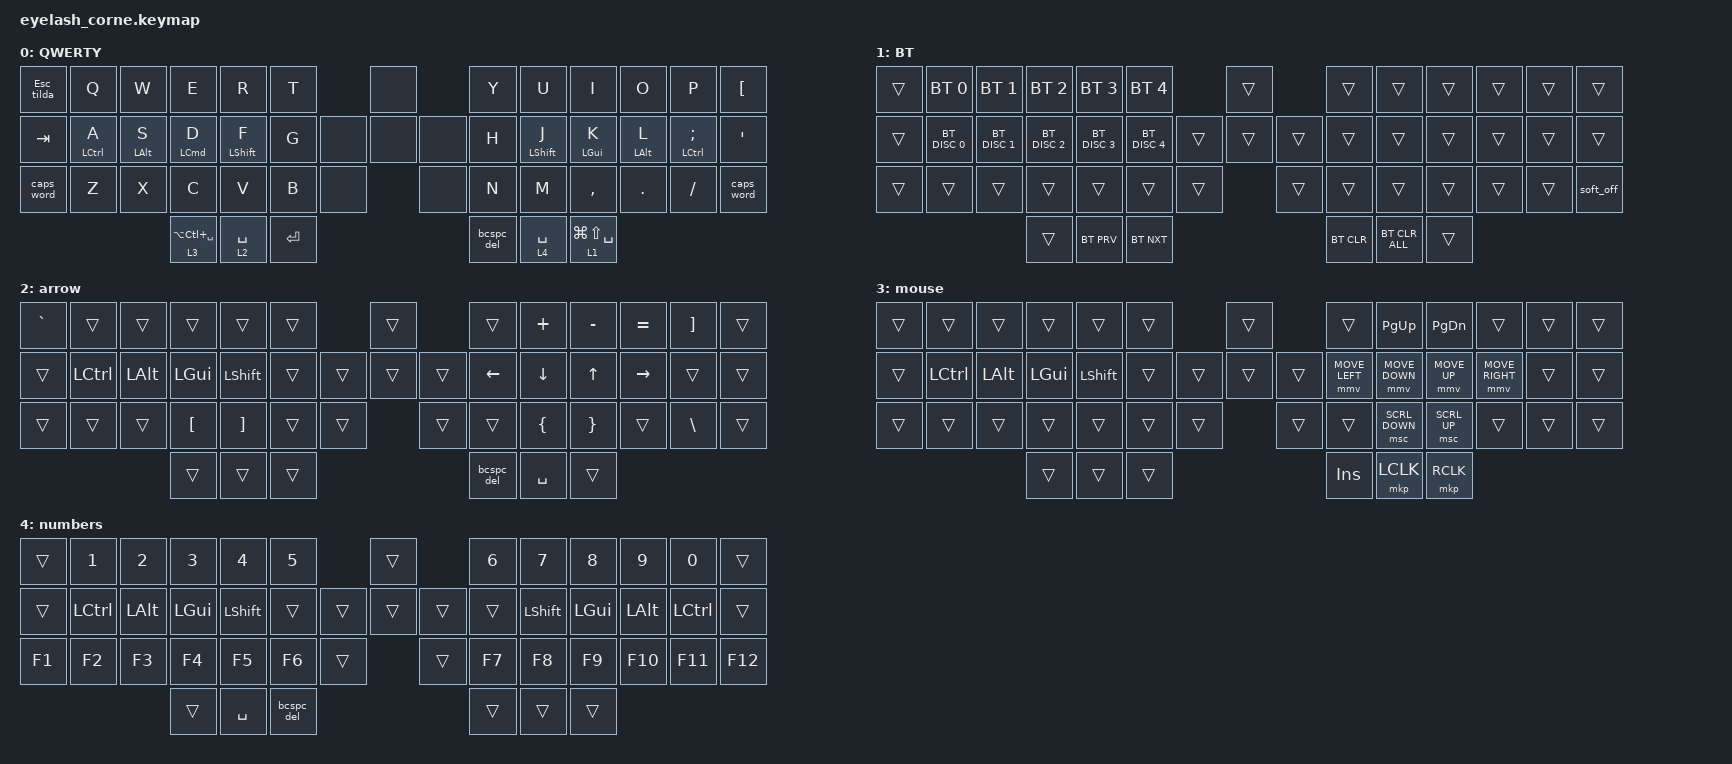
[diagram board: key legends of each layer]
#define ZMK_POINTING_DEFAULT_MOVE_VAL 1200  // 600
#define ZMK_POINTING_DEFAULT_SCRL_VAL 25   // 10

#include <input/processors.dtsi>
#include <zephyr/dt-bindings/input/input-event-codes.h>
#include <behaviors.dtsi>
#include <dt-bindings/zmk/bt.h>
#include <dt-bindings/zmk/keys.h>
#include <dt-bindings/zmk/pointing.h>

&mmv_input_listener { input-processors = <&zip_xy_scaler 2 1>; };

&msc_input_listener { input-processors = <&zip_scroll_scaler 2 1>; };

&msc {
    acceleration-exponent = <1>;
    time-to-max-speed-ms = <100>;
    delay-ms = <0>;
    trigger-period-ms = <8>;
};

&mmv {
    time-to-max-speed-ms = <500>;
    acceleration-exponent = <1>;
    trigger-period-ms = <8>;
    delay-ms = <0>;
};

&soft_off { hold-time-ms = <2000>; };

/ {
    behaviors {
        td0: td0 {
            compatible = "zmk,behavior-tap-dance";
            display-name = "Shift/Caps Lock Tap Dance";
            #binding-cells = <0>;
            bindings = <&kp LEFT_SHIFT>, <&kp CAPS>;
        };

        HMR: HMR {
            compatible = "zmk,behavior-hold-tap";
            label = "HMR";
            bindings = <&kp>, <&kp>;

            #binding-cells = <2>;
            tapping-term-ms = <125>;
            flavor = "balanced";
            hold-trigger-on-release;
            hold-trigger-key-positions = <0 1 2 3 4 5 13 14 15 16 17 18 28 29 30 31 32 33 42 43 44>;
            quick-tap-ms = <200>;
        };

        HML: HML {
            compatible = "zmk,behavior-hold-tap";
            label = "HML";
            bindings = <&kp>, <&kp>;

            #binding-cells = <2>;
            tapping-term-ms = <125>;
            flavor = "balanced";
            hold-trigger-on-release;
            hold-trigger-key-positions = <7 8 9 10 11 12 22 23 24 25 26 27 36 37 38 39 40 41 45 46 47>;
            quick-tap-ms = <200>;
        };

        HM: HM {
            compatible = "zmk,behavior-hold-tap";
            label = "HM";
            bindings = <&kp>, <&kp>;

            #binding-cells = <2>;
            tapping-term-ms = <125>;
            flavor = "balanced";
            hold-trigger-on-release;
        };

        Esc_tilda: Esc_tilda {
            compatible = "zmk,behavior-mod-morph";
            label = "ESC_TILDA";
            bindings = <&kp ESCAPE>, <&kp LS(GRAVE)>;

            #binding-cells = <0>;
            mods = <(MOD_LSFT)>;
        };

        bcspc_del: bcspc_del {
            compatible = "zmk,behavior-mod-morph";
            label = "BCSPC_DEL";
            bindings = <&kp BACKSPACE>, <&kp DEL>;

            #binding-cells = <0>;
            mods = <(MOD_LSFT)>;
        };

        custom_lt: custom_lt {
            compatible = "zmk,behavior-hold-tap";
            label = "CUSTOM_LT";
            bindings = <&mo>, <&kp>;

            #binding-cells = <2>;
            tapping-term-ms = <125>;
            flavor = "balanced";
            hold-trigger-on-release;
        };

        enter_back: enter_back {
            compatible = "zmk,behavior-mod-morph";
            label = "ENTER_BACK";
            bindings = <&kp ENTER>, <&kp BACKSPACE>;

            #binding-cells = <0>;
            mods = <(MOD_LSFT)>;
        };

        hold_ent_del: hold_ent_del {
            compatible = "zmk,behavior-hold-tap";
            label = "HOLD_ENT_DEL";
            bindings = <&mo>, <&enter_back>;

            #binding-cells = <2>;
            tapping-term-ms = <125>;
            flavor = "balanced";
            hold-trigger-on-release;
        };

        scroll_med_fast_up: scroll_med_fast_up {
            compatible = "zmk,behavior-mod-morph";
            label = "SCROLL_MED_FAST_UP";
            bindings = <&msc MOVE_Y(10)>, <&msc MOVE_Y(20)>;

            #binding-cells = <0>;
            mods = <(MOD_LSFT)>;
        };

        scroll_med_fast_down: scroll_med_fast_down {
            compatible = "zmk,behavior-mod-morph";
            label = "SCROLL_MED_FAST_DOWN";
            bindings = <&msc MOVE_Y(-10)>, <&msc MOVE_Y(-20)>;

            #binding-cells = <0>;
            mods = <(MOD_LSFT)>;
        };

        HM_scroll: HM_scroll {
            compatible = "zmk,behavior-hold-tap";
            label = "HM_SCROLL";
            bindings = <&msc>, <&kp>;

            #binding-cells = <2>;
            tapping-term-ms = <125>;
            flavor = "balanced";
            hold-trigger-on-release;
        };

        scroll_ht: scroll_ht {
            compatible = "zmk,behavior-hold-tap";
            label = "SCROLL_HT";
            bindings = <&msc>, <&msc>;

            #binding-cells = <2>;
            tapping-term-ms = <125>;
            quick-tap-ms = <200>;
        };
    };

    scroll_encoder: scroll_encoder {
        compatible = "zmk,behavior-sensor-rotate";
        #sensor-binding-cells = <0>;
        bindings = <&msc SCRL_DOWN>, <&msc SCRL_UP>;

        tap-ms = <100>;
    };

    combos {
        compatible = "zmk,combos";

        softoff {
            bindings = <&soft_off>;
            key-positions = <1 15 29>;
        };
    };

    macros {
        cn_lan: cn_lan {
            compatible = "zmk,behavior-macro";
            #binding-cells = <0>;
            bindings = <&kp LC(SPACE)>;
            label = "CN_LAN";
        };
    };

    keymap {
        compatible = "zmk,keymap";

        default_layer {
            display-name = "QWERTY";
            bindings = <
&Esc_tilda  &kp Q                &kp W        &kp E                       &kp R               &kp T                      &none         &kp Y       &kp U               &kp I                       &kp O        &kp P                   &kp LEFT_BRACKET
&kp TAB     &HML LEFT_CONTROL A  &HML LALT S  &HML LCMD D                 &HML LSHFT F        &kp G               &none  &none  &none  &kp H       &HMR LSHFT J        &HMR LGUI K                 &HMR LALT L  &HMR LEFT_CONTROL SEMI  &kp SQT
&caps_word  &kp Z                &kp X        &kp C                       &kp V               &kp B      &none           &none         &kp N       &kp M               &kp COMMA                   &kp DOT      &kp FSLH                &caps_word
                                              &custom_lt 3 LA(LC(SPACE))  &custom_lt 2 SPACE  &kp ENTER                                &bcspc_del  &custom_lt 4 SPACE  &custom_lt 1 LG(LS(SPACE))
            >;
        };

        BT {
            bindings = <
&trans  &bt BT_SEL 0   &bt BT_SEL 1   &bt BT_SEL 2   &bt BT_SEL 3   &bt BT_SEL 4                     &trans          &trans      &trans          &trans  &trans  &trans  &trans
&trans  &bt BT_DISC 0  &bt BT_DISC 1  &bt BT_DISC 2  &bt BT_DISC 3  &bt BT_DISC 4            &trans  &trans  &trans  &trans      &trans          &trans  &trans  &trans  &trans
&trans  &trans         &trans         &trans         &trans         &trans         &trans            &trans          &trans      &trans          &trans  &trans  &trans  &soft_off
                                      &trans         &bt BT_PRV     &bt BT_NXT                                       &bt BT_CLR  &bt BT_CLR_ALL  &trans
            >;
        };

        arrow {
            bindings = <
&kp GRAVE  &trans            &trans        &trans            &trans             &trans                    &trans          &trans          &kp PLUS        &kp MINUS        &kp EQUAL        &kp RIGHT_BRACKET  &trans
&trans     &kp LEFT_CONTROL  &kp LEFT_ALT  &kp LEFT_GUI      &kp LEFT_SHIFT     &trans            &trans  &trans  &trans  &kp LEFT_ARROW  &kp DOWN_ARROW  &kp UP_ARROW     &kp RIGHT_ARROW  &trans             &trans
&trans     &trans            &trans        &kp LEFT_BRACKET  &kp RIGHT_BRACKET  &trans  &trans            &trans          &trans          &kp LEFT_BRACE  &kp RIGHT_BRACE  &trans           &kp BACKSLASH      &trans
                                           &trans            &trans             &trans                                    &bcspc_del      &kp SPACE       &trans
            >;
        };

        mouse {
            bindings = <
&trans  &trans            &trans        &trans        &trans          &trans                    &trans          &trans          &kp PG_UP       &kp PG_DN     &trans           &trans  &trans
&trans  &kp LEFT_CONTROL  &kp LEFT_ALT  &kp LEFT_GUI  &kp LEFT_SHIFT  &trans            &trans  &trans  &trans  &mmv MOVE_LEFT  &mmv MOVE_DOWN  &mmv MOVE_UP  &mmv MOVE_RIGHT  &trans  &trans
&trans  &trans            &trans        &trans        &trans          &trans  &trans            &trans          &trans          &msc SCRL_DOWN  &msc SCRL_UP  &trans           &trans  &trans
                                        &trans        &trans          &trans                                    &kp INS         &mkp LCLK       &mkp RCLK
            >;
        };

        numbers {
            bindings = <
&trans  &kp NUMBER_1      &kp NUMBER_2  &kp NUMBER_3  &kp NUMBER_4  &kp N5                        &trans          &kp NUMBER_6  &kp NUMBER_7  &kp NUMBER_8  &kp NUMBER_9  &kp NUMBER_0  &trans
&trans  &kp LEFT_CONTROL  &kp LALT      &kp LEFT_GUI  &kp LSHFT     &trans                &trans  &trans  &trans  &trans        &kp LSHFT     &kp LGUI      &kp LALT      &kp LCTRL     &trans
&kp F1  &kp F2            &kp F3        &kp F4        &kp F5        &kp F6      &trans            &trans          &kp F7        &kp F8        &kp F9        &kp F10       &kp F11       &kp F12
                                        &trans        &kp SPACE     &bcspc_del                                    &trans        &trans        &trans
            >;
        };
    };
};
